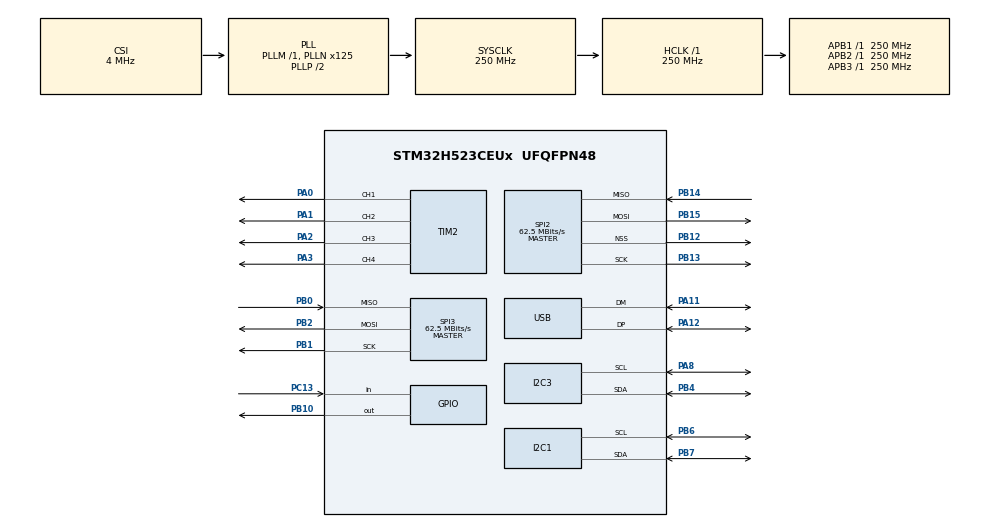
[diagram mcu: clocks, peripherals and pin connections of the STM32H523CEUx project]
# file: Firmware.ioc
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BOOTPATH.BootPathName=LEGACY
BOOTPATH.UserSelectedBootPath=LEGACY
CORTEX_M33_NS.userName=CORTEX_M33
I2C1.Timing=0x60808CD3
I2C3.Timing=0x60808CD3
Mcu.Family=STM32H5
Mcu.Name=STM32H523CEUx
Mcu.Package=UFQFPN48
NVIC.PriorityGroup=NVIC_PRIORITYGROUP_4
PA0.Signal=S_TIM2_CH1
PA1.Signal=S_TIM2_CH2
PA11.Mode=Device
PA11.Signal=USB_DM
PA12.Mode=Device
PA12.Signal=USB_DP
PA13(JTMS/SWDIO).Mode=Serial_Wire
PA13(JTMS/SWDIO).Signal=DEBUG_JTMS-SWDIO
PA14(JTCK/SWCLK).Mode=Serial_Wire
PA14(JTCK/SWCLK).Signal=DEBUG_JTCK-SWCLK
PA2.Signal=S_TIM2_CH3
PA3.Signal=S_TIM2_CH4
PA4.Signal=SPI1_NSS
PA5.Signal=SPI1_SCK
PA6.Signal=SPI1_MISO
PA7.Signal=SPI1_MOSI
PA8.Mode=I2C
PA8.Signal=I2C3_SCL
PB0.Mode=Full_Duplex_Master
PB0.Signal=SPI3_MISO
PB1.Mode=Full_Duplex_Master
PB1.Signal=SPI3_SCK
PB10.Signal=GPIO_Output
PB12.Mode=NSS_Signal_Hard_Output
PB12.Signal=SPI2_NSS
PB13.Mode=Full_Duplex_Master
PB13.Signal=SPI2_SCK
PB14.Mode=Full_Duplex_Master
PB14.Signal=SPI2_MISO
PB15.Mode=Full_Duplex_Master
PB15.Signal=SPI2_MOSI
PB2.Mode=Full_Duplex_Master
PB2.Signal=SPI3_MOSI
PB4(NJTRST).Mode=I2C
PB4(NJTRST).Signal=I2C3_SDA
PB6.Mode=I2C
PB6.Signal=I2C1_SCL
PB7.Mode=I2C
PB7.Signal=I2C1_SDA
PC13.Signal=GPIO_Input
PH0-OSC_IN(PH0).Mode=HSE-External-Oscillator
PH0-OSC_IN(PH0).Signal=RCC_OSC_IN
PH1-OSC_OUT(PH1).Mode=HSE-External-Oscillator
PH1-OSC_OUT(PH1).Signal=RCC_OSC_OUT
ProjectManager.HeapSize=0x200
ProjectManager.StackSize=0x400
ProjectManager.TargetToolchain=CMake
RCC.ADCFreq_Value=250000000
RCC.AHBFreq_Value=250000000
RCC.APB1Freq_Value=250000000
RCC.APB1TimFreq_Value=250000000
RCC.APB2Freq_Value=250000000
RCC.APB2TimFreq_Value=250000000
RCC.APB3Freq_Value=250000000
RCC.CSI_VALUE=4000000
RCC.CortexFreq_Value=250000000
RCC.EPOD_VALUE=4000000
RCC.HCLKFreq_Value=250000000
RCC.HSE_VALUE=25000000
RCC.HSI48_VALUE=48000000
RCC.HSI_VALUE=64000000
RCC.LSE_VALUE=32768
RCC.LSIRC_VALUE=32000
RCC.PLL3FRACN=4096
RCC.PLL3N=62
RCC.PLLFRACN=0
RCC.PLLN=125
RCC.SPI2CLockSelection=RCC_SPI2CLKSOURCE_PLL3P
RCC.SPI3CLockSelection=RCC_SPI3CLKSOURCE_PLL3P
RCC.SYSCLKFreq_VALUE=250000000
RCC.SYSCLKSource=RCC_SYSCLKSOURCE_PLLCLK
RCC.USBFreq_Value=48000000
RCC.VCOOutputFreq_Value=500000000
SH.S_TIM2_CH1.0=TIM2_CH1,PWM Generation1 CH1
SH.S_TIM2_CH2.0=TIM2_CH2,PWM Generation2 CH2
SH.S_TIM2_CH3.0=TIM2_CH3,PWM Generation3 CH3
SH.S_TIM2_CH4.0=TIM2_CH4,PWM Generation4 CH4
SPI2.BaudRatePrescaler=SPI_BAUDRATEPRESCALER_2
SPI2.CalculateBaudRate=62.5 MBits/s
SPI2.Direction=SPI_DIRECTION_2LINES
SPI2.Mode=SPI_MODE_MASTER
SPI2.VirtualNSS=VM_NSSHARD
SPI2.VirtualType=VM_MASTER
SPI3.BaudRatePrescaler=SPI_BAUDRATEPRESCALER_2
SPI3.CalculateBaudRate=62.5 MBits/s
SPI3.Direction=SPI_DIRECTION_2LINES
SPI3.Mode=SPI_MODE_MASTER
SPI3.VirtualType=VM_MASTER
TIM2.Channel-PWM\ Generation1\ CH1=TIM_CHANNEL_1
TIM2.Channel-PWM\ Generation2\ CH2=TIM_CHANNEL_2
TIM2.Channel-PWM\ Generation3\ CH3=TIM_CHANNEL_3
TIM2.Channel-PWM\ Generation4\ CH4=TIM_CHANNEL_4
USB.VirtualMode=Device_Only
VP_BOOTPATH_VS_BOOTPATH.Mode=BP_Activate
VP_CORTEX_M33_NS_VS_Hclk.Mode=Hclk_Mode
VP_FLASH_SIG_Activate_FlashIP.Mode=Activate_FlashIP
VP_MEMORYMAP_VS_MEMORYMAP.Mode=CurAppReg
VP_PWR_VS_LPOM.Mode=PowerOptimisation
VP_PWR_VS_SECSignals.Mode=Security/Privilege
VP_TIM6_VS_ClockSourceINT.Mode=Enable_Timer
board=custom

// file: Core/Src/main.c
/* USER CODE BEGIN Header */
/**
  ******************************************************************************
  * @file           : main.c
  * @brief          : Main program body
  ******************************************************************************
  * @attention
  *
  * Copyright (c) 2025 STMicroelectronics.
  * All rights reserved.
  *
  * This software is licensed under terms that can be found in the LICENSE file
  * in the root directory of this software component.
  * If no LICENSE file comes with this software, it is provided AS-IS.
  *
  ******************************************************************************
  */
/* USER CODE END Header */

/* USER CODE BEGIN 2 */
//Drivers
#include "main.h"
#include "as5600.h"
#include "icm20948_api.h"
#include "drv8871.h"

//APIs
#include "PID.h"
/* USER CODE END 2 */

I2C_HandleTypeDef hi2c1;
I2C_HandleTypeDef hi2c3;

SPI_HandleTypeDef hspi2;
SPI_HandleTypeDef hspi3;

TIM_HandleTypeDef htim2;
TIM_HandleTypeDef htim6;

PCD_HandleTypeDef hpcd_USB_DRD_FS;

void SystemClock_Config(void);
void PeriphCommonClock_Config(void);
static void MX_GPIO_Init(void);
static void MX_SPI2_Init(void);
static void MX_SPI3_Init(void);
static void MX_USB_PCD_Init(void);
static void MX_I2C1_Init(void);
static void MX_TIM2_Init(void);
static void MX_TIM6_Init(void);
static void MX_I2C3_Init(void);
static void MX_FLASH_Init(void);

/* USER CODE BEGIN 3 */
AS5600_HandleTypeDef leftEncoder;
AS5600_HandleTypeDef rightEncoder;

#define ICM20948_I2C_ADDRESS 0x68 << 1  // Adjust based on AD0 pin

int8_t usr_write(const uint8_t addr, const uint8_t *data, const uint32_t len) {
    // Write 'len' bytes to register 'addr'
    HAL_StatusTypeDef status = HAL_I2C_Mem_Write(&hi2c1, ICM20948_I2C_ADDRESS, addr, I2C_MEMADD_SIZE_8BIT, (uint8_t *)data, len, 100);
    return status == HAL_OK ? 0 : -1;
}

int8_t usr_read(const uint8_t addr, uint8_t *data, const uint32_t len) {
    // Read 'len' bytes from register 'addr' into 'data'
    HAL_StatusTypeDef status = HAL_I2C_Mem_Read(&hi2c1, ICM20948_I2C_ADDRESS, addr, I2C_MEMADD_SIZE_8BIT, data, len, 100);
    return status == HAL_OK ? 0 : -1;
}

/* USER CODE END 3 */

volatile uint8_t timer6Flag = 0;

int main(void)
{
  /* MCU Configuration--------------------------------------------------------*/
  /* Reset of all peripherals, Initializes the Flash interface and the Systick. */
  HAL_Init();
  SystemClock_Config();

  /* Configure the peripherals common clocks */
  PeriphCommonClock_Config();

  /* Initialize all configured peripherals */
  MX_GPIO_Init();
  MX_SPI2_Init();
  MX_SPI3_Init();
  MX_USB_PCD_Init();
  MX_I2C1_Init();
  MX_TIM2_Init();
  MX_TIM6_Init();
  MX_I2C3_Init();
  MX_FLASH_Init();

  /* USER CODE BEGIN 4 */

  HAL_TIM_Base_Start_IT(&htim6);

  //AS5600 INIT
  leftEncoder.hi2c = &hi2c1;
  rightEncoder.hi2c = &hi2c3;

  uint16_t leftAngle, rightAngle;

  while (1)
  {
    if (timer6Flag) {
      timer6Flag = 0;

      AS5600_ReadAngle(&leftEncoder, &leftAngle);
      AS5600_ReadAngle(&rightEncoder, &rightAngle);

      float leftAngleDeg = (leftAngle * 360) / 4096;
      float rightAngleDeg = (rightAngle *360) / 4096;
    }
  }

  //ICM20948 INIT
  icm20948_return_code_t ret = ICM20948_RET_OK;
  icm20948_settings_t settings;
  icm20948_gyro_t gyro_data;
  icm20948_accel_t accel_data;

  // ret = icm20948_init(usr_read, usr_write, usr_delay_us);

  /* USER CODE END 4 */

}

void SystemClock_Config(void)
{
  RCC_OscInitTypeDef RCC_OscInitStruct = {0};
  RCC_ClkInitTypeDef RCC_ClkInitStruct = {0};

  /** Configure the main internal regulator output voltage
  */
  __HAL_PWR_VOLTAGESCALING_CONFIG(PWR_REGULATOR_VOLTAGE_SCALE0);

  while(!__HAL_PWR_GET_FLAG(PWR_FLAG_VOSRDY)) {}

  /** Initializes the RCC Oscillators according to the specified parameters
  * in the RCC_OscInitTypeDef structure.
  */
  RCC_OscInitStruct.OscillatorType = RCC_OSCILLATORTYPE_HSI48|RCC_OSCILLATORTYPE_CSI;
  RCC_OscInitStruct.HSI48State = RCC_HSI48_ON;
  RCC_OscInitStruct.CSIState = RCC_CSI_ON;
  RCC_OscInitStruct.CSICalibrationValue = RCC_CSICALIBRATION_DEFAULT;
  RCC_OscInitStruct.PLL.PLLState = RCC_PLL_ON;
  RCC_OscInitStruct.PLL.PLLSource = RCC_PLL1_SOURCE_CSI;
  RCC_OscInitStruct.PLL.PLLM = 1;
  RCC_OscInitStruct.PLL.PLLN = 125;
  RCC_OscInitStruct.PLL.PLLP = 2;
  RCC_OscInitStruct.PLL.PLLQ = 2;
  RCC_OscInitStruct.PLL.PLLR = 2;
  RCC_OscInitStruct.PLL.PLLRGE = RCC_PLL1_VCIRANGE_2;
  RCC_OscInitStruct.PLL.PLLVCOSEL = RCC_PLL1_VCORANGE_WIDE;
  RCC_OscInitStruct.PLL.PLLFRACN = 0;
  if (HAL_RCC_OscConfig(&RCC_OscInitStruct) != HAL_OK)
  {
    Error_Handler();
  }

  /** Initializes the CPU, AHB and APB buses clocks
  */
  RCC_ClkInitStruct.ClockType = RCC_CLOCKTYPE_HCLK|RCC_CLOCKTYPE_SYSCLK
                              |RCC_CLOCKTYPE_PCLK1|RCC_CLOCKTYPE_PCLK2
                              |RCC_CLOCKTYPE_PCLK3;
  RCC_ClkInitStruct.SYSCLKSource = RCC_SYSCLKSOURCE_PLLCLK;
  RCC_ClkInitStruct.AHBCLKDivider = RCC_SYSCLK_DIV1;
  RCC_ClkInitStruct.APB1CLKDivider = RCC_HCLK_DIV1;
  RCC_ClkInitStruct.APB2CLKDivider = RCC_HCLK_DIV1;
  RCC_ClkInitStruct.APB3CLKDivider = RCC_HCLK_DIV1;

  if (HAL_RCC_ClockConfig(&RCC_ClkInitStruct, FLASH_LATENCY_5) != HAL_OK)
  {
    Error_Handler();
  }

  /** Configure the programming delay
  */
  __HAL_FLASH_SET_PROGRAM_DELAY(FLASH_PROGRAMMING_DELAY_2);
}

void PeriphCommonClock_Config(void)
{
  RCC_PeriphCLKInitTypeDef PeriphClkInitStruct = {0};

  /** Initializes the peripherals clock
  */
  PeriphClkInitStruct.PeriphClockSelection = RCC_PERIPHCLK_SPI2|RCC_PERIPHCLK_SPI3;
  PeriphClkInitStruct.PLL3.PLL3Source = RCC_PLL3_SOURCE_CSI;
  PeriphClkInitStruct.PLL3.PLL3M = 1;
  PeriphClkInitStruct.PLL3.PLL3N = 62;
  PeriphClkInitStruct.PLL3.PLL3P = 2;
  PeriphClkInitStruct.PLL3.PLL3Q = 2;
  PeriphClkInitStruct.PLL3.PLL3R = 2;
  PeriphClkInitStruct.PLL3.PLL3RGE = RCC_PLL3_VCIRANGE_0;
  PeriphClkInitStruct.PLL3.PLL3VCOSEL = RCC_PLL3_VCORANGE_MEDIUM;
  PeriphClkInitStruct.PLL3.PLL3FRACN = 4096;
  PeriphClkInitStruct.PLL3.PLL3ClockOut = RCC_PLL3_DIVP;
  PeriphClkInitStruct.Spi2ClockSelection = RCC_SPI2CLKSOURCE_PLL3P;
  PeriphClkInitStruct.Spi3ClockSelection = RCC_SPI3CLKSOURCE_PLL3P;
  if (HAL_RCCEx_PeriphCLKConfig(&PeriphClkInitStruct) != HAL_OK)
  {
    Error_Handler();
  }
}

static void MX_FLASH_Init(void)
{

  if (HAL_FLASH_Unlock() != HAL_OK)
  {
    Error_Handler();
  }
  if (HAL_FLASH_Lock() != HAL_OK)
  {
    Error_Handler();
  }

}

static void MX_I2C1_Init(void)
{

  hi2c1.Instance = I2C1;
  hi2c1.Init.Timing = 0x60808CD3;
  hi2c1.Init.OwnAddress1 = 0;
  hi2c1.Init.AddressingMode = I2C_ADDRESSINGMODE_7BIT;
  hi2c1.Init.DualAddressMode = I2C_DUALADDRESS_DISABLE;
  hi2c1.Init.OwnAddress2 = 0;
  hi2c1.Init.OwnAddress2Masks = I2C_OA2_NOMASK;
  hi2c1.Init.GeneralCallMode = I2C_GENERALCALL_DISABLE;
  hi2c1.Init.NoStretchMode = I2C_NOSTRETCH_DISABLE;
  if (HAL_I2C_Init(&hi2c1) != HAL_OK)
  {
    Error_Handler();
  }

  /** Configure Analogue filter
  */
  if (HAL_I2CEx_ConfigAnalogFilter(&hi2c1, I2C_ANALOGFILTER_ENABLE) != HAL_OK)
  {
    Error_Handler();
  }

  /** Configure Digital filter
  */
  if (HAL_I2CEx_ConfigDigitalFilter(&hi2c1, 0) != HAL_OK)
  {
    Error_Handler();
  }

}

static void MX_I2C3_Init(void)
{

  hi2c3.Instance = I2C3;
  hi2c3.Init.Timing = 0x60808CD3;
  hi2c3.Init.OwnAddress1 = 0;
  hi2c3.Init.AddressingMode = I2C_ADDRESSINGMODE_7BIT;
  hi2c3.Init.DualAddressMode = I2C_DUALADDRESS_DISABLE;
  hi2c3.Init.OwnAddress2 = 0;
  hi2c3.Init.OwnAddress2Masks = I2C_OA2_NOMASK;
  hi2c3.Init.GeneralCallMode = I2C_GENERALCALL_DISABLE;
  hi2c3.Init.NoStretchMode = I2C_NOSTRETCH_DISABLE;
  if (HAL_I2C_Init(&hi2c3) != HAL_OK)
  {
    Error_Handler();
  }

  /** Configure Analogue filter
  */
  if (HAL_I2CEx_ConfigAnalogFilter(&hi2c3, I2C_ANALOGFILTER_ENABLE) != HAL_OK)
  {
    Error_Handler();
  }

  /** Configure Digital filter
  */
  if (HAL_I2CEx_ConfigDigitalFilter(&hi2c3, 0) != HAL_OK)
  {
    Error_Handler();
  }

}

static void MX_SPI2_Init(void)
{

  /* SPI2 parameter configuration*/
  hspi2.Instance = SPI2;
  hspi2.Init.Mode = SPI_MODE_MASTER;
  hspi2.Init.Direction = SPI_DIRECTION_2LINES;
  hspi2.Init.DataSize = SPI_DATASIZE_4BIT;
  hspi2.Init.CLKPolarity = SPI_POLARITY_LOW;
  hspi2.Init.CLKPhase = SPI_PHASE_1EDGE;
  hspi2.Init.NSS = SPI_NSS_HARD_OUTPUT;
  hspi2.Init.BaudRatePrescaler = SPI_BAUDRATEPRESCALER_2;
  hspi2.Init.FirstBit = SPI_FIRSTBIT_MSB;
  hspi2.Init.TIMode = SPI_TIMODE_DISABLE;
  hspi2.Init.CRCCalculation = SPI_CRCCALCULATION_DISABLE;
  hspi2.Init.CRCPolynomial = 0x7;
  hspi2.Init.NSSPMode = SPI_NSS_PULSE_ENABLE;
  hspi2.Init.NSSPolarity = SPI_NSS_POLARITY_LOW;
  hspi2.Init.FifoThreshold = SPI_FIFO_THRESHOLD_01DATA;
  hspi2.Init.MasterSSIdleness = SPI_MASTER_SS_IDLENESS_00CYCLE;
  hspi2.Init.MasterInterDataIdleness = SPI_MASTER_INTERDATA_IDLENESS_00CYCLE;
  hspi2.Init.MasterReceiverAutoSusp = SPI_MASTER_RX_AUTOSUSP_DISABLE;
  hspi2.Init.MasterKeepIOState = SPI_MASTER_KEEP_IO_STATE_DISABLE;
  hspi2.Init.IOSwap = SPI_IO_SWAP_DISABLE;
  hspi2.Init.ReadyMasterManagement = SPI_RDY_MASTER_MANAGEMENT_INTERNALLY;
  hspi2.Init.ReadyPolarity = SPI_RDY_POLARITY_HIGH;
  if (HAL_SPI_Init(&hspi2) != HAL_OK)
  {
    Error_Handler();
  }

}

static void MX_SPI3_Init(void)
{

  /* SPI3 parameter configuration*/
  hspi3.Instance = SPI3;
  hspi3.Init.Mode = SPI_MODE_MASTER;
  hspi3.Init.Direction = SPI_DIRECTION_2LINES;
  hspi3.Init.DataSize = SPI_DATASIZE_4BIT;
  hspi3.Init.CLKPolarity = SPI_POLARITY_LOW;
  hspi3.Init.CLKPhase = SPI_PHASE_1EDGE;
  hspi3.Init.NSS = SPI_NSS_SOFT;
  hspi3.Init.BaudRatePrescaler = SPI_BAUDRATEPRESCALER_2;
  hspi3.Init.FirstBit = SPI_FIRSTBIT_MSB;
  hspi3.Init.TIMode = SPI_TIMODE_DISABLE;
  hspi3.Init.CRCCalculation = SPI_CRCCALCULATION_DISABLE;
  hspi3.Init.CRCPolynomial = 0x7;
  hspi3.Init.NSSPMode = SPI_NSS_PULSE_ENABLE;
  hspi3.Init.NSSPolarity = SPI_NSS_POLARITY_LOW;
  hspi3.Init.FifoThreshold = SPI_FIFO_THRESHOLD_01DATA;
  hspi3.Init.MasterSSIdleness = SPI_MASTER_SS_IDLENESS_00CYCLE;
  hspi3.Init.MasterInterDataIdleness = SPI_MASTER_INTERDATA_IDLENESS_00CYCLE;
  hspi3.Init.MasterReceiverAutoSusp = SPI_MASTER_RX_AUTOSUSP_DISABLE;
  hspi3.Init.MasterKeepIOState = SPI_MASTER_KEEP_IO_STATE_DISABLE;
  hspi3.Init.IOSwap = SPI_IO_SWAP_DISABLE;
  hspi3.Init.ReadyMasterManagement = SPI_RDY_MASTER_MANAGEMENT_INTERNALLY;
  hspi3.Init.ReadyPolarity = SPI_RDY_POLARITY_HIGH;
  if (HAL_SPI_Init(&hspi3) != HAL_OK)
  {
    Error_Handler();
  }

}

static void MX_TIM2_Init(void)
{

  TIM_MasterConfigTypeDef sMasterConfig = {0};
  TIM_OC_InitTypeDef sConfigOC = {0};

  htim2.Instance = TIM2;
  htim2.Init.Prescaler = 0;
  htim2.Init.CounterMode = TIM_COUNTERMODE_UP;
  htim2.Init.Period = 4294967295;
  htim2.Init.ClockDivision = TIM_CLOCKDIVISION_DIV1;
  htim2.Init.AutoReloadPreload = TIM_AUTORELOAD_PRELOAD_DISABLE;
  if (HAL_TIM_PWM_Init(&htim2) != HAL_OK)
  {
    Error_Handler();
  }
  sMasterConfig.MasterOutputTrigger = TIM_TRGO_RESET;
  sMasterConfig.MasterSlaveMode = TIM_MASTERSLAVEMODE_DISABLE;
  if (HAL_TIMEx_MasterConfigSynchronization(&htim2, &sMasterConfig) != HAL_OK)
  {
    Error_Handler();
  }
  sConfigOC.OCMode = TIM_OCMODE_PWM1;
  sConfigOC.Pulse = 0;
  sConfigOC.OCPolarity = TIM_OCPOLARITY_HIGH;
  sConfigOC.OCFastMode = TIM_OCFAST_DISABLE;
  if (HAL_TIM_PWM_ConfigChannel(&htim2, &sConfigOC, TIM_CHANNEL_1) != HAL_OK)
  {
    Error_Handler();
  }
  if (HAL_TIM_PWM_ConfigChannel(&htim2, &sConfigOC, TIM_CHANNEL_2) != HAL_OK)
  {
    Error_Handler();
  }
  if (HAL_TIM_PWM_ConfigChannel(&htim2, &sConfigOC, TIM_CHANNEL_3) != HAL_OK)
  {
    Error_Handler();
  }
  if (HAL_TIM_PWM_ConfigChannel(&htim2, &sConfigOC, TIM_CHANNEL_4) != HAL_OK)
  {
    Error_Handler();
  }
  HAL_TIM_MspPostInit(&htim2);

}

//TIMER FOR TIMESTEP
static void MX_TIM6_Init(void)
{

    TIM_MasterConfigTypeDef sMasterConfig = {0};

    htim6.Instance = TIM6;
    htim6.Init.Prescaler = 25000 - 1;  // adjust depending on your clock to get 1 kHz
    htim6.Init.CounterMode = TIM_COUNTERMODE_UP;
    htim6.Init.Period = 10 - 1;          // 1 kHz update assuming 250 MHz timer clock
    htim6.Init.AutoReloadPreload = TIM_AUTORELOAD_PRELOAD_DISABLE;
    if (HAL_TIM_Base_Init(&htim6) != HAL_OK)
    {
        Error_Handler();
    }

    sMasterConfig.MasterOutputTrigger = TIM_TRGO_UPDATE;
    sMasterConfig.MasterSlaveMode = TIM_MASTERSLAVEMODE_DISABLE;
    if (HAL_TIMEx_MasterConfigSynchronization(&htim6, &sMasterConfig) != HAL_OK)
    {
        Error_Handler();
    }

    /* USER CODE BEGIN TIM6_Init 1 */

    HAL_NVIC_SetPriority(TIM6_IRQn, 0, 0);  // Set priority (0 = highest)
    HAL_NVIC_EnableIRQ(TIM6_IRQn);

    /* USER CODE END TIM6_Init 1 */
}

void TIM6_DAC_IRQHandler(void)
{
    HAL_TIM_IRQHandler(&htim6);
}

void HAL_TIM_PeriodElapsedCallback(TIM_HandleTypeDef *htim)
{
    if (htim->Instance == TIM6)
    {
        timer6Flag = 1; // signal main loop
    }
}

static void MX_USB_PCD_Init(void)
{

  hpcd_USB_DRD_FS.Instance = USB_DRD_FS;
  hpcd_USB_DRD_FS.Init.dev_endpoints = 8;
  hpcd_USB_DRD_FS.Init.speed = USBD_FS_SPEED;
  hpcd_USB_DRD_FS.Init.phy_itface = PCD_PHY_EMBEDDED;
  hpcd_USB_DRD_FS.Init.Sof_enable = DISABLE;
  hpcd_USB_DRD_FS.Init.low_power_enable = DISABLE;
  hpcd_USB_DRD_FS.Init.lpm_enable = DISABLE;
  hpcd_USB_DRD_FS.Init.battery_charging_enable = DISABLE;
  hpcd_USB_DRD_FS.Init.vbus_sensing_enable = DISABLE;
  hpcd_USB_DRD_FS.Init.bulk_doublebuffer_enable = DISABLE;
  hpcd_USB_DRD_FS.Init.iso_singlebuffer_enable = DISABLE;
  if (HAL_PCD_Init(&hpcd_USB_DRD_FS) != HAL_OK)
  {
    Error_Handler();
  }

}

static void MX_GPIO_Init(void)
{
  GPIO_InitTypeDef GPIO_InitStruct = {0};

  /* GPIO Ports Clock Enable */
  __HAL_RCC_GPIOC_CLK_ENABLE();
  __HAL_RCC_GPIOH_CLK_ENABLE();
  __HAL_RCC_GPIOA_CLK_ENABLE();
  __HAL_RCC_GPIOB_CLK_ENABLE();

  /*Configure GPIO pin Output Level */
  HAL_GPIO_WritePin(GPIOB, GPIO_PIN_10, GPIO_PIN_RESET);

  /*Configure GPIO pin : PC13 */
  GPIO_InitStruct.Pin = GPIO_PIN_13;
  GPIO_InitStruct.Mode = GPIO_MODE_INPUT;
  GPIO_InitStruct.Pull = GPIO_NOPULL;
  HAL_GPIO_Init(GPIOC, &GPIO_InitStruct);

  /*Configure GPIO pins : PA4 PA5 PA6 PA7 */
  GPIO_InitStruct.Pin = GPIO_PIN_4|GPIO_PIN_5|GPIO_PIN_6|GPIO_PIN_7;
  GPIO_InitStruct.Mode = GPIO_MODE_AF_PP;
  GPIO_InitStruct.Pull = GPIO_NOPULL;
  GPIO_InitStruct.Speed = GPIO_SPEED_FREQ_LOW;
  GPIO_InitStruct.Alternate = GPIO_AF5_SPI1;
  HAL_GPIO_Init(GPIOA, &GPIO_InitStruct);

  /*Configure GPIO pin : PB10 */
  GPIO_InitStruct.Pin = GPIO_PIN_10;
  GPIO_InitStruct.Mode = GPIO_MODE_OUTPUT_PP;
  GPIO_InitStruct.Pull = GPIO_NOPULL;
  GPIO_InitStruct.Speed = GPIO_SPEED_FREQ_LOW;
  HAL_GPIO_Init(GPIOB, &GPIO_InitStruct);

}

void Error_Handler(void)
{
  __disable_irq();
  while (1)
  {
  }
}
